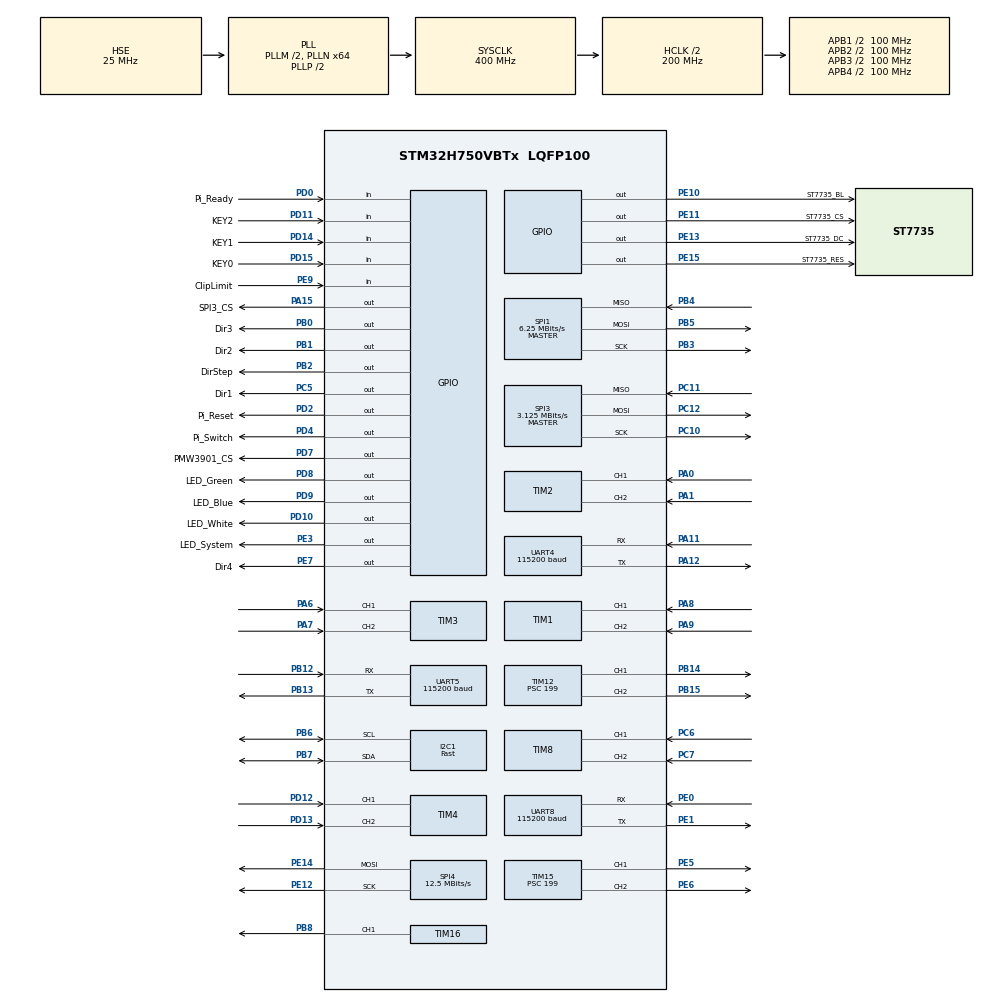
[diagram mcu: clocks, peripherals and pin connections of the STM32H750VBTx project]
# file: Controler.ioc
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CORTEX_M7.AccessPermission_Spec=MPU_REGION_NO_ACCESS
CORTEX_M7.BaseAddress_Spec=0x0
CORTEX_M7.CPU_DCache=Disabled
CORTEX_M7.CPU_ICache=Disabled
CORTEX_M7.DisableExec_Spec=MPU_INSTRUCTION_ACCESS_DISABLE
CORTEX_M7.Enable_S-Cortex_Memory_Protection_Unit_Region10_Settings_S=__NULL
CORTEX_M7.Enable_S-Cortex_Memory_Protection_Unit_Region11_Settings_S=__NULL
CORTEX_M7.Enable_S-Cortex_Memory_Protection_Unit_Region12_Settings_S=__NULL
CORTEX_M7.Enable_S-Cortex_Memory_Protection_Unit_Region13_Settings_S=__NULL
CORTEX_M7.Enable_S-Cortex_Memory_Protection_Unit_Region14_Settings_S=__NULL
CORTEX_M7.Enable_S-Cortex_Memory_Protection_Unit_Region15_Settings_S=__NULL
CORTEX_M7.Enable_S-Cortex_Memory_Protection_Unit_Region1_Settings_S=__NULL
CORTEX_M7.Enable_S-Cortex_Memory_Protection_Unit_Region2_Settings_S=__NULL
CORTEX_M7.Enable_S-Cortex_Memory_Protection_Unit_Region3_Settings_S=__NULL
CORTEX_M7.Enable_S-Cortex_Memory_Protection_Unit_Region4_Settings_S=__NULL
CORTEX_M7.Enable_S-Cortex_Memory_Protection_Unit_Region5_Settings_S=__NULL
CORTEX_M7.Enable_S-Cortex_Memory_Protection_Unit_Region6_Settings_S=__NULL
CORTEX_M7.Enable_S-Cortex_Memory_Protection_Unit_Region7_Settings_S=__NULL
CORTEX_M7.Enable_S-Cortex_Memory_Protection_Unit_Region8_Settings_S=__NULL
CORTEX_M7.Enable_S-Cortex_Memory_Protection_Unit_Region9_Settings_S=__NULL
CORTEX_M7.Enable_Spec=MPU_REGION_ENABLE
CORTEX_M7.IsBufferable_Spec=MPU_ACCESS_NOT_BUFFERABLE
CORTEX_M7.IsCacheable_Spec=MPU_ACCESS_NOT_CACHEABLE
CORTEX_M7.IsShareable_Spec=MPU_ACCESS_SHAREABLE
CORTEX_M7.MPU_Control=MPU_PRIVILEGED_DEFAULT
CORTEX_M7.Size_Spec=MPU_REGION_SIZE_4GB
CORTEX_M7.SubRegionDisable_Spec=0x87
CORTEX_M7.TypeExtField_Spec=MPU_TEX_LEVEL0
CORTEX_M7.default_mode_Activation=1
Dma.Request0=SPI4_TX
Dma.Request1=UART4_RX
Dma.SPI4_TX.0.Direction=DMA_MEMORY_TO_PERIPH
Dma.SPI4_TX.0.EventEnable=DISABLE
Dma.SPI4_TX.0.FIFOMode=DMA_FIFOMODE_DISABLE
Dma.SPI4_TX.0.Instance=DMA1_Stream1
Dma.SPI4_TX.0.MemDataAlignment=DMA_MDATAALIGN_BYTE
Dma.SPI4_TX.0.MemInc=DMA_MINC_ENABLE
Dma.SPI4_TX.0.Mode=DMA_NORMAL
Dma.SPI4_TX.0.PeriphDataAlignment=DMA_PDATAALIGN_BYTE
Dma.SPI4_TX.0.PeriphInc=DMA_PINC_DISABLE
Dma.SPI4_TX.0.Polarity=HAL_DMAMUX_REQ_GEN_RISING
Dma.SPI4_TX.0.Priority=DMA_PRIORITY_LOW
Dma.SPI4_TX.0.RequestNumber=1
Dma.SPI4_TX.0.SignalID=NONE
Dma.SPI4_TX.0.SyncEnable=DISABLE
Dma.SPI4_TX.0.SyncPolarity=HAL_DMAMUX_SYNC_NO_EVENT
Dma.SPI4_TX.0.SyncRequestNumber=1
Dma.SPI4_TX.0.SyncSignalID=NONE
Dma.UART4_RX.1.Direction=DMA_PERIPH_TO_MEMORY
Dma.UART4_RX.1.EventEnable=DISABLE
Dma.UART4_RX.1.FIFOMode=DMA_FIFOMODE_DISABLE
Dma.UART4_RX.1.Instance=DMA1_Stream0
Dma.UART4_RX.1.MemDataAlignment=DMA_MDATAALIGN_BYTE
Dma.UART4_RX.1.MemInc=DMA_MINC_ENABLE
Dma.UART4_RX.1.Mode=DMA_CIRCULAR
Dma.UART4_RX.1.PeriphDataAlignment=DMA_PDATAALIGN_BYTE
Dma.UART4_RX.1.PeriphInc=DMA_PINC_DISABLE
Dma.UART4_RX.1.Polarity=HAL_DMAMUX_REQ_GEN_RISING
Dma.UART4_RX.1.Priority=DMA_PRIORITY_LOW
Dma.UART4_RX.1.RequestNumber=1
Dma.UART4_RX.1.SignalID=NONE
Dma.UART4_RX.1.SyncEnable=DISABLE
Dma.UART4_RX.1.SyncPolarity=HAL_DMAMUX_SYNC_NO_EVENT
Dma.UART4_RX.1.SyncRequestNumber=1
Dma.UART4_RX.1.SyncSignalID=NONE
FREERTOS.BinarySemaphores01=bQueuePut,Dynamic,NULL
FREERTOS.Queues01=SensorMessageQueue,16,uint16_t,0,Dynamic,NULL,NULL
FREERTOS.Tasks01=IOcontrol,8,128,IOcontrolEntry,Default,NULL,Dynamic,NULL,NULL;SerialOutput,8,512,SerialOutputEntry,Default,NULL,Dynamic,NULL,NULL;StateMachine,8,512,StateMachineEntry,Default,NULL,Dynamic,NULL,NULL;ScreenRefresh,8,512,ScreenRefreshEntry,Default,NULL,Dynamic,NULL,NULL;SensorHandle,24,256,SensorHandleEntry,Default,NULL,Dynamic,NULL,NULL;InfCalOpticalTa,8,256,InfCalOpticalEntry,Default,NULL,Dynamic,NULL,NULL
FREERTOS.Timers01=KeyTimer,KeyTimerCallback,osTimerPeriodic,Default,NULL,Dynamic,NULL
I2C1.AddressingMode=I2C_ADDRESSINGMODE_7BIT
I2C1.Analog_Filter=I2C_ANALOGFILTER_ENABLE
I2C1.CustomTiming=Disabled
I2C1.DualAddressMode=I2C_DUALADDRESS_DISABLE
I2C1.GeneralCallMode=I2C_GENERALCALL_DISABLE
I2C1.I2C_Coeff_DF=0
I2C1.I2C_Fall_Time=0
I2C1.I2C_Rise_Time=0
I2C1.I2C_Speed_Mode=I2C_Fast
I2C1.NoStretchMode=I2C_NOSTRETCH_DISABLE
I2C1.OwnAddress=0
I2C1.Speed=400
I2C1.Timing=0x009034B6
Mcu.Family=STM32H7
Mcu.Name=STM32H750VBTx
Mcu.Package=LQFP100
NVIC.DMA1_Stream0_IRQn=true\:5\:0\:false\:false\:true\:true\:false\:true\:true
NVIC.DMA1_Stream1_IRQn=true\:5\:0\:false\:false\:true\:true\:false\:true\:true
NVIC.PriorityGroup=NVIC_PRIORITYGROUP_4
NVIC.SPI4_IRQn=true\:5\:0\:false\:false\:true\:true\:false\:true\:true
NVIC.TIM17_IRQn=true\:15\:0\:false\:false\:true\:false\:true\:true\:true
NVIC.TIM6_DAC_IRQn=true\:5\:0\:false\:false\:true\:true\:true\:true\:true
NVIC.TimeBase=TIM17_IRQn
NVIC.TimeBaseIP=TIM17
NVIC.UART5_IRQn=true\:5\:0\:false\:false\:true\:true\:true\:true\:true
PA0.Signal=S_TIM2_CH1_ETR
PA1.Signal=S_TIM2_CH2
PA11.Mode=Asynchronous
PA11.Signal=UART4_RX
PA12.Mode=Asynchronous
PA12.Signal=UART4_TX
PA13\ (JTMS/SWDIO).Mode=Serial_Wire
PA13\ (JTMS/SWDIO).Signal=DEBUG_JTMS-SWDIO
PA14\ (JTCK/SWCLK).Mode=Serial_Wire
PA14\ (JTCK/SWCLK).Signal=DEBUG_JTCK-SWCLK
PA15\ (JTDI).GPIO_Label=SPI3_CS
PA15\ (JTDI).Signal=GPIO_Output
PA6.Signal=S_TIM3_CH1
PA7.Signal=S_TIM3_CH2
PA8.Signal=S_TIM1_CH1
PA9.Signal=S_TIM1_CH2
PB0.GPIO_Label=Dir3
PB0.Signal=GPIO_Output
PB1.GPIO_Label=Dir2
PB1.Signal=GPIO_Output
PB12.Mode=Asynchronous
PB12.Signal=UART5_RX
PB13.Mode=Asynchronous
PB13.Signal=UART5_TX
PB14.Signal=S_TIM12_CH1
PB15.Signal=S_TIM12_CH2
PB2.GPIO_Label=DirStep
PB2.Signal=GPIO_Output
PB3\ (JTDO/TRACESWO).GPIO_PuPd=GPIO_PULLUP
PB3\ (JTDO/TRACESWO).GPIO_Speed=GPIO_SPEED_FREQ_VERY_HIGH
PB3\ (JTDO/TRACESWO).Mode=Full_Duplex_Master
PB3\ (JTDO/TRACESWO).Signal=SPI1_SCK
PB4\ (NJTRST).GPIO_PuPd=GPIO_PULLUP
PB4\ (NJTRST).GPIO_Speed=GPIO_SPEED_FREQ_VERY_HIGH
PB4\ (NJTRST).Mode=Full_Duplex_Master
PB4\ (NJTRST).Signal=SPI1_MISO
PB5.GPIO_PuPd=GPIO_PULLUP
PB5.GPIO_Speed=GPIO_SPEED_FREQ_VERY_HIGH
PB5.Mode=Full_Duplex_Master
PB5.Signal=SPI1_MOSI
PB6.Mode=I2C
PB6.Signal=I2C1_SCL
PB7.Mode=I2C
PB7.Signal=I2C1_SDA
PB8.Signal=S_TIM16_CH1
PC10.GPIO_Mode=GPIO_MODE_AF_PP
PC10.GPIO_PuPd=GPIO_PULLUP
PC10.GPIO_Speed=GPIO_SPEED_FREQ_VERY_HIGH
PC10.Mode=Full_Duplex_Master
PC10.Signal=SPI3_SCK
PC11.GPIO_PuPd=GPIO_PULLUP
PC11.GPIO_Speed=GPIO_SPEED_FREQ_VERY_HIGH
PC11.Mode=Full_Duplex_Master
PC11.Signal=SPI3_MISO
PC12.GPIO_PuPd=GPIO_PULLUP
PC12.GPIO_Speed=GPIO_SPEED_FREQ_VERY_HIGH
PC12.Mode=Full_Duplex_Master
PC12.Signal=SPI3_MOSI
PC5.GPIO_Label=Dir1
PC5.Signal=GPIO_Output
PC6.Signal=S_TIM8_CH1
PC7.Signal=S_TIM8_CH2
PD0.GPIO_Label=Pi_Ready
PD0.Signal=GPIO_Input
PD10.GPIO_Label=LED_White
PD10.Signal=GPIO_Output
PD11.GPIO_Label=KEY2
PD11.GPIO_PuPd=GPIO_PULLUP
PD11.Signal=GPIO_Input
PD12.Signal=S_TIM4_CH1
PD13.Signal=S_TIM4_CH2
PD14.GPIO_Label=KEY1
PD14.GPIO_PuPd=GPIO_PULLUP
PD14.Signal=GPIO_Input
PD15.GPIO_Label=KEY0
PD15.GPIO_PuPd=GPIO_PULLUP
PD15.Signal=GPIO_Input
PD2.GPIO_Label=Pi_Reset
PD2.GPIO_PuPd=GPIO_PULLDOWN
PD2.Signal=GPIO_Output
PD4.GPIO_Label=Pi_Switch
PD4.GPIO_PuPd=GPIO_PULLDOWN
PD4.Signal=GPIO_Output
PD7.GPIO_Label=PMW3901_CS
PD7.Signal=GPIO_Output
PD8.GPIO_Label=LED_Green
PD8.Signal=GPIO_Output
PD9.GPIO_Label=LED_Blue
PD9.Signal=GPIO_Output
PE0.Mode=Asynchronous
PE0.Signal=UART8_RX
PE1.Mode=Asynchronous
PE1.Signal=UART8_TX
PE10.GPIO_Label=ST7735_BL
PE10.Signal=GPIO_Output
PE11.GPIO_Label=ST7735_CS
PE11.Signal=GPIO_Output
PE12.GPIO_PuPd=GPIO_PULLUP
PE12.GPIO_Speed=GPIO_SPEED_FREQ_LOW
PE12.Mode=TX_Only_Simplex_Unidirect_Master
PE12.Signal=SPI4_SCK
PE13.GPIO_Label=ST7735_DC
PE13.Signal=GPIO_Output
PE14.GPIO_PuPd=GPIO_PULLUP
PE14.GPIO_Speed=GPIO_SPEED_FREQ_LOW
PE14.Mode=TX_Only_Simplex_Unidirect_Master
PE14.Signal=SPI4_MOSI
PE15.GPIO_Label=ST7735_RES
PE15.Signal=GPIO_Output
PE3.GPIO_Label=LED_System
PE3.Signal=GPIO_Output
PE5.Signal=S_TIM15_CH1
PE6.Signal=S_TIM15_CH2
PE7.GPIO_Label=Dir4
PE7.Signal=GPIO_Output
PE9.GPIO_Label=ClipLimit
PE9.GPIO_PuPd=GPIO_PULLDOWN
PE9.Signal=GPIO_Input
PH0-OSC_IN\ (PH0).Mode=HSE-External-Oscillator
PH0-OSC_IN\ (PH0).Signal=RCC_OSC_IN
PH1-OSC_OUT\ (PH1).Mode=HSE-External-Oscillator
PH1-OSC_OUT\ (PH1).Signal=RCC_OSC_OUT
ProjectManager.HeapSize=0x200
ProjectManager.StackSize=0x400
ProjectManager.TargetToolchain=STM32CubeIDE
RCC.ADCFreq_Value=50390625
RCC.APB1Freq_Value=100000000
RCC.APB2Freq_Value=100000000
RCC.APB3Freq_Value=100000000
RCC.APB4Freq_Value=100000000
RCC.CortexFreq_Value=400000000
RCC.D1PPRE=RCC_APB3_DIV2
RCC.D2PPRE1=RCC_APB1_DIV2
RCC.D2PPRE2=RCC_APB2_DIV2
RCC.D3PPRE=RCC_APB4_DIV2
RCC.DIVM1=2
RCC.DIVN1=64
RCC.DIVQ1=4
RCC.FLatency=FLASH_LATENCY_2
RCC.HCLKFreq_Value=200000000
RCC.HPRE=RCC_HCLK_DIV2
RCC.PLL1_VCI_Range=RCC_PLL1VCIRANGE_2
RCC.PLLFRACN=0
RCC.PLLSourceVirtual=RCC_PLLSOURCE_HSE
RCC.PWR_Regulator_Voltage_Scale=PWR_REGULATOR_VOLTAGE_SCALE0
RCC.SYSCLKFreq_VALUE=400000000
RCC.SYSCLKSource=RCC_SYSCLKSOURCE_PLLCLK
RCC.USBFreq_Value=200000000
SH.S_TIM12_CH1.0=TIM12_CH1,PWM Generation1 CH1
SH.S_TIM12_CH2.0=TIM12_CH2,PWM Generation2 CH2
SH.S_TIM15_CH1.0=TIM15_CH1,PWM Generation1 CH1
SH.S_TIM15_CH2.0=TIM15_CH2,PWM Generation2 CH2
SH.S_TIM16_CH1.0=TIM16_CH1,PWM Generation1 CH1
SH.S_TIM1_CH1.0=TIM1_CH1,Encoder_Interface
SH.S_TIM1_CH2.0=TIM1_CH2,Encoder_Interface
SH.S_TIM2_CH1_ETR.0=TIM2_CH1,Encoder_Interface
SH.S_TIM2_CH2.0=TIM2_CH2,Encoder_Interface
SH.S_TIM3_CH1.0=TIM3_CH1,Encoder_Interface
SH.S_TIM3_CH2.0=TIM3_CH2,Encoder_Interface
SH.S_TIM4_CH1.0=TIM4_CH1,Encoder_Interface
SH.S_TIM4_CH2.0=TIM4_CH2,Encoder_Interface
SH.S_TIM8_CH1.0=TIM8_CH1,Encoder_Interface
SH.S_TIM8_CH2.0=TIM8_CH2,Encoder_Interface
SPI1.BaudRatePrescaler=SPI_BAUDRATEPRESCALER_32
SPI1.CLKPhase=SPI_PHASE_2EDGE
SPI1.CLKPolarity=SPI_POLARITY_HIGH
SPI1.CalculateBaudRate=6.25 MBits/s
SPI1.DataSize=SPI_DATASIZE_8BIT
SPI1.Direction=SPI_DIRECTION_2LINES
SPI1.Mode=SPI_MODE_MASTER
SPI1.VirtualType=VM_MASTER
SPI3.BaudRatePrescaler=SPI_BAUDRATEPRESCALER_64
SPI3.CLKPhase=SPI_PHASE_2EDGE
SPI3.CLKPolarity=SPI_POLARITY_HIGH
SPI3.CRCCalculation=SPI_CRCCALCULATION_DISABLE
SPI3.CalculateBaudRate=3.125 MBits/s
SPI3.DataSize=SPI_DATASIZE_8BIT
SPI3.Direction=SPI_DIRECTION_2LINES
SPI3.FifoThreshold=SPI_FIFO_THRESHOLD_01DATA
SPI3.FirstBit=SPI_FIRSTBIT_MSB
SPI3.IOSwap=SPI_IO_SWAP_DISABLE
SPI3.MasterInterDataIdleness=SPI_MASTER_INTERDATA_IDLENESS_00CYCLE
SPI3.MasterKeepIOState=SPI_MASTER_KEEP_IO_STATE_ENABLE
SPI3.MasterReceiverAutoSusp=SPI_MASTER_RX_AUTOSUSP_DISABLE
SPI3.MasterSSIdleness=SPI_MASTER_SS_IDLENESS_00CYCLE
SPI3.Mode=SPI_MODE_MASTER
SPI3.NSS=SPI_NSS_SOFT
SPI3.NSSPMode=SPI_NSS_PULSE_ENABLE
SPI3.NSSPolarity=SPI_NSS_POLARITY_LOW
SPI3.RxCRCInitializationPattern=SPI_CRC_INITIALIZATION_ALL_ZERO_PATTERN
SPI3.TIMode=SPI_TIMODE_DISABLE
SPI3.TxCRCInitializationPattern=SPI_CRC_INITIALIZATION_ALL_ZERO_PATTERN
SPI3.VirtualType=VM_MASTER
SPI4.BaudRatePrescaler=SPI_BAUDRATEPRESCALER_8
SPI4.CLKPhase=SPI_PHASE_2EDGE
SPI4.CLKPolarity=SPI_POLARITY_HIGH
SPI4.CalculateBaudRate=12.5 MBits/s
SPI4.DataSize=SPI_DATASIZE_8BIT
SPI4.Direction=SPI_DIRECTION_2LINES_TXONLY
SPI4.MasterKeepIOState=SPI_MASTER_KEEP_IO_STATE_ENABLE
SPI4.Mode=SPI_MODE_MASTER
SPI4.VirtualType=VM_MASTER
TIM12.Channel-PWM\ Generation1\ CH1=TIM_CHANNEL_1
TIM12.Channel-PWM\ Generation2\ CH2=TIM_CHANNEL_2
TIM12.Period=99
TIM12.Prescaler=199
TIM15.Channel-PWM\ Generation1\ CH1=TIM_CHANNEL_1
TIM15.Channel-PWM\ Generation2\ CH2=TIM_CHANNEL_2
TIM15.Period=99
TIM15.Prescaler=199
TIM16.Channel=TIM_CHANNEL_1
TIM16.Period=99
TIM16.Prescaler=199
TIM6.AutoReloadPreload=TIM_AUTORELOAD_PRELOAD_ENABLE
TIM6.Period=999
TIM6.Prescaler=239
TIM8.EncoderMode=TIM_ENCODERMODE_TI1
UART4.AutoBaudRateEnableParam=UART_ADVFEATURE_AUTOBAUDRATE_DISABLE
UART4.BaudRate=115200
UART4.ClockPrescaler=PRESCALER_DIV1
UART4.DMADisableonRxErrorParam=UART_ADVFEATURE_DMA_ENABLEONRXERROR
UART4.DataInvertParam=UART_ADVFEATURE_DATAINV_DISABLE
UART4.FIFOMode=FIFOMODE_DISABLE
UART4.MSBFirstParam=UART_ADVFEATURE_MSBFIRST_DISABLE
UART4.Mode=MODE_TX_RX
UART4.OneBitSampling=UART_ONE_BIT_SAMPLE_DISABLE
UART4.OverSampling=UART_OVERSAMPLING_16
UART4.OverrunDisableParam=UART_ADVFEATURE_OVERRUN_ENABLE
UART4.Parity=PARITY_NONE
UART4.RXFIFOThreshold=RXFIFO_THRESHOLD_1EIGHTHFULL
UART4.RxPinLevelInvertParam=UART_ADVFEATURE_RXINV_DISABLE
UART4.StopBits=UART_STOPBITS_1
UART4.SwapParam=UART_ADVFEATURE_SWAP_DISABLE
UART4.TXFIFOThreshold=TXFIFO_THRESHOLD_1EIGHTHFULL
UART4.TxPinLevelInvertParam=UART_ADVFEATURE_TXINV_DISABLE
UART4.WordLength=WORDLENGTH_8B
UART5.AutoBaudRateEnableParam=UART_ADVFEATURE_AUTOBAUDRATE_DISABLE
UART5.BaudRate=115200
UART5.ClockPrescaler=PRESCALER_DIV1
UART5.DMADisableonRxErrorParam=UART_ADVFEATURE_DMA_ENABLEONRXERROR
UART5.DataInvertParam=UART_ADVFEATURE_DATAINV_DISABLE
UART5.FIFOMode=FIFOMODE_DISABLE
UART5.MSBFirstParam=UART_ADVFEATURE_MSBFIRST_DISABLE
UART5.Mode=MODE_TX_RX
UART5.OneBitSampling=UART_ONE_BIT_SAMPLE_DISABLE
UART5.OverSampling=UART_OVERSAMPLING_16
UART5.OverrunDisableParam=UART_ADVFEATURE_OVERRUN_ENABLE
UART5.Parity=PARITY_NONE
UART5.RXFIFOThreshold=RXFIFO_THRESHOLD_1EIGHTHFULL
UART5.RxPinLevelInvertParam=UART_ADVFEATURE_RXINV_DISABLE
UART5.StopBits=UART_STOPBITS_1
UART5.SwapParam=UART_ADVFEATURE_SWAP_DISABLE
UART5.TXFIFOThreshold=TXFIFO_THRESHOLD_1EIGHTHFULL
UART5.TxPinLevelInvertParam=UART_ADVFEATURE_TXINV_DISABLE
UART5.WordLength=WORDLENGTH_8B
UART8.AutoBaudRateEnableParam=UART_ADVFEATURE_AUTOBAUDRATE_DISABLE
UART8.BaudRate=115200
UART8.ClockPrescaler=PRESCALER_DIV1
UART8.DMADisableonRxErrorParam=UART_ADVFEATURE_DMA_ENABLEONRXERROR
UART8.DataInvertParam=UART_ADVFEATURE_DATAINV_DISABLE
UART8.FIFOMode=FIFOMODE_DISABLE
UART8.MSBFirstParam=UART_ADVFEATURE_MSBFIRST_DISABLE
UART8.Mode=MODE_TX_RX
UART8.OneBitSampling=UART_ONE_BIT_SAMPLE_DISABLE
UART8.OverSampling=UART_OVERSAMPLING_16
UART8.OverrunDisableParam=UART_ADVFEATURE_OVERRUN_ENABLE
UART8.Parity=PARITY_NONE
UART8.RXFIFOThreshold=RXFIFO_THRESHOLD_1EIGHTHFULL
UART8.RxPinLevelInvertParam=UART_ADVFEATURE_RXINV_DISABLE
UART8.StopBits=UART_STOPBITS_1
UART8.SwapParam=UART_ADVFEATURE_SWAP_DISABLE
UART8.TXFIFOThreshold=TXFIFO_THRESHOLD_1EIGHTHFULL
UART8.TxPinLevelInvertParam=UART_ADVFEATURE_TXINV_DISABLE
UART8.WordLength=WORDLENGTH_8B
VP_FREERTOS_VS_CMSIS_V2.Mode=CMSIS_V2
VP_SYS_VS_tim17.Mode=TIM17
VP_TIM12_VS_ClockSourceINT.Mode=Internal
VP_TIM15_VS_ClockSourceINT.Mode=Internal
VP_TIM16_VS_ClockSourceINT.Mode=Enable_Timer
VP_TIM6_VS_ClockSourceINT.Mode=Enable_Timer
board=custom

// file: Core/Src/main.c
/* USER CODE BEGIN Header */
/**
  ******************************************************************************
  * @file           : main.c
  * @brief          : Main program body
  ******************************************************************************
  * @attention
  *
  * Copyright (c) 2022 STMicroelectronics.
  * All rights reserved.
  *
  * This software is licensed under terms that can be found in the LICENSE file
  * in the root directory of this software component.
  * If no LICENSE file comes with this software, it is provided AS-IS.
  *
  ******************************************************************************
  */
/* USER CODE END Header */
#include "main.h"
#include "cmsis_os.h"
#include "dma.h"
#include "i2c.h"
#include "spi.h"
#include "tim.h"
#include "usart.h"
#include "gpio.h"

/* USER CODE BEGIN Includes */
#include "key.h"
#include "move.h"
#include "motor.h"
#include "utils.h"
#include "printf.h"
#include "stdlib.h"
#include "PID/pid.h"
#include "Filter/filter.h"
#include "Compass/QMC5883L.h"
#include "ST7735-HAL/st7735.h"
#include "ICM42605/ICM42605.h"
#include "imuFusion/imuFusion.h"
#include "StepHerlper/stepHelper.h"
#include "SerialParaChanger/SPChanger.h"
#include "CommonKey/comKey.h"
/* USER CODE END Includes */

/* USER CODE BEGIN PV */
extern osMessageQueueId_t SensorMessageQueueHandle;
fusion_t icmFusion;

char shBuff[256];
char chBuff;
/* USER CODE END PV */

void SystemClock_Config(void);

static void MPU_Config(void);

void MX_FREERTOS_Init(void);

/* USER CODE BEGIN PFP */
void _putchar(char character) {
    HAL_UART_Transmit(&huart5, (uint8_t *) &character, 1, HAL_MAX_DELAY);
}

extern short uart_charPut(char *data, unsigned short len);
/* USER CODE END PFP */

int main(void) {

    /* MPU Configuration--------------------------------------------------------*/
    MPU_Config();

    /* MCU Configuration--------------------------------------------------------*/

    /* Reset of all peripherals, Initializes the Flash interface and the Systick. */
    HAL_Init();

    /* Configure the system clock */
    SystemClock_Config();

    /* Initialize all configured peripherals */
    MX_GPIO_Init();
    MX_DMA_Init();
    MX_SPI3_Init();
    MX_UART5_Init();
    MX_UART8_Init();
    MX_I2C1_Init();
    MX_UART4_Init();
    MX_TIM2_Init();
    MX_TIM4_Init();
    MX_TIM16_Init();
    MX_TIM3_Init();
    MX_SPI4_Init();
    MX_TIM1_Init();
    MX_TIM8_Init();
    MX_SPI1_Init();
    MX_TIM15_Init();
    MX_TIM6_Init();
    MX_TIM12_Init();
    /* USER CODE BEGIN 2 */
    // Encoders
    HAL_TIM_Encoder_Start(&htim1, TIM_CHANNEL_1);
    HAL_TIM_Encoder_Start(&htim1, TIM_CHANNEL_2);
    HAL_TIM_Encoder_Start(&htim2, TIM_CHANNEL_1);
    HAL_TIM_Encoder_Start(&htim2, TIM_CHANNEL_2);
    HAL_TIM_Encoder_Start(&htim3, TIM_CHANNEL_1);
    HAL_TIM_Encoder_Start(&htim3, TIM_CHANNEL_2);
    HAL_TIM_Encoder_Start(&htim4, TIM_CHANNEL_1);
    HAL_TIM_Encoder_Start(&htim4, TIM_CHANNEL_2);
    HAL_TIM_Encoder_Start(&htim8, TIM_CHANNEL_1);
    HAL_TIM_Encoder_Start(&htim8, TIM_CHANNEL_2);

    // Motors
    HAL_TIM_PWM_Start(&htim12, TIM_CHANNEL_1);
    HAL_TIM_PWM_Start(&htim12, TIM_CHANNEL_2);
    HAL_TIM_PWM_Start(&htim15, TIM_CHANNEL_1);
    HAL_TIM_PWM_Start(&htim15, TIM_CHANNEL_2);
    HAL_TIM_PWM_Start(&htim16, TIM_CHANNEL_1);

    // Screen
    ST7735_Init();
    ST7735_SetRotation(1);
    ST7735_Backlight_On();
    ST7735_FillScreen(ST7735_WHITE);

    // Sensor Init
    int res = 0;
    char buffer[64];

    sprintf(buffer, "Initing PMW...\r\n");
    LCD_StringLayout(128, buffer, Font_11x18, ST7735_BLACK, ST7735_WHITE);
    if (PMW3901_Init(&CarInfo.pmw) != 0) {
        char buff[64];
        sprintf(buff, "PMW Init Error\r\n");
        LCD_StringLayout(128, buff, Font_11x18, ST7735_BLACK, ST7735_WHITE);
        while (1);
    }

    sprintf(buffer, "Initing QMC...\r\n");
    LCD_StringLayout(128, buffer, Font_11x18, ST7735_BLACK, ST7735_WHITE);
//    if (QMC5883_Init() != 0) {
//        char buff[64];
//        sprintf(buff, "QMC Init Error\n");
//        LCD_StringLayout(128, buff, Font_11x18, ST7735_BLACK, ST7735_WHITE);
//        while (1);
//    }

    sprintf(buffer, "Caling QMC...\r\n");
    LCD_StringLayout(128, buffer, Font_11x18, ST7735_BLACK, ST7735_WHITE);
    for (int i = 0; i < 100; i++) {
        QMC5883_GetData(&CarInfo.hmc);
        ICM42605_GetData(&CarInfo.icm, ICM_MODE_GYRO);
        CarInfo.initYawOffset += atan2f(CarInfo.hmc.Mx, CarInfo.hmc.My);
        printf("gyro:%f,%f,%f\r\n", CarInfo.icm.gx, CarInfo.icm.gy, CarInfo.icm.gz);
        HAL_Delay(1);
    }
    CarInfo.initYawOffset /= 100;

    sprintf(buffer, "Caling ICM...\r\n");
    LCD_StringLayout(128, buffer, Font_11x18, ST7735_BLACK, ST7735_WHITE);
    CarInfo.initGxOffset = 0;
    CarInfo.initGyOffset = 0;
    CarInfo.initGzOffset = 0;
    for(int i = 0;i < 1000;i++){
        ICM42605_GetData(&CarInfo.icm, ICM_MODE_GYRO);
        CarInfo.initGxOffset += CarInfo.icm.gx;
        CarInfo.initGyOffset += CarInfo.icm.gy;
        CarInfo.initGzOffset += CarInfo.icm.gz;
    }
    CarInfo.initGxOffset /= 1000;
    CarInfo.initGyOffset /= 1000;
    CarInfo.initGzOffset /= 1000;

    if ((res = ICM42605_Init()) != 0) {
        char buff[64];
        sprintf(buff, "ICM42605 Init Error\r\n");
        LCD_StringLayout(128, buff, Font_11x18, ST7735_BLACK, ST7735_WHITE);
        while (1);
    }

    ST7735_FillScreen(ST7735_WHITE);
    LCD_StringLayout(LCD_EOP);

    // Soft Init
    PID_Init(&CarInfo.msPid[4], 8, 0.45f, 0);//0, 0.2, 0,
    PID_Init(&CarInfo.mpPid[4], 0.15f, 0, 0);// 0.033, 0, 0,

    KeyInit();

    shell.write = uart_charPut;
    shellInit(&shell, shBuff, 256);

    // Interrupt
    HAL_TIM_Base_Start_IT(&htim6);
    HAL_UART_Receive_IT(&huart5, (uint8_t *) &chBuff, 1);
    CarInfo.mpPid[4].ctr.aim = -10000;
    while (CarInfo.mpPid[4].ctr.aim != TopHeight);
    HAL_Delay(300);
    SupportRotation(90, 500);
    /* USER CODE END 2 */

    /* Init scheduler */
    osKernelInitialize();  /* Call init function for freertos objects (in freertos.c) */
    MX_FREERTOS_Init();

    /* Start scheduler */
    osKernelStart();

    /* We should never get here as control is now taken by the scheduler */
    /* Infinite loop */
    /* USER CODE BEGIN WHILE */
    while (1) {

        Motor_Drive(0, 20, 1);
        Motor_Drive(1, 20, 1);
        Motor_Drive(2, 20, 1);
        Motor_Drive(3, 20, 1);
//        switch (motor) {
//            case 0:
//                Motor_Drive(0, 20, 1);
//                Motor_Drive(1, 0, 1);
//                Motor_Drive(2, 0, 1);
//                Motor_Drive(3, 0, 1);
//                break;
//            case 1:
//                Motor_Drive(0, 0, 1);
//                Motor_Drive(1, 20, 1);
//                Motor_Drive(2, 0, 1);
//                Motor_Drive(3, 0, 1);
//                break;
//            case 2:
//                Motor_Drive(0, 0, 1);
//                Motor_Drive(1, 0, 1);
//                Motor_Drive(2, 20, 1);
//                Motor_Drive(3, 0, 1);
//                break;
//            case 3:
//                Motor_Drive(0, 0, 1);
//                Motor_Drive(1, 0, 1);
//                Motor_Drive(2, 0, 1);
//                Motor_Drive(3, 20, 1);
//                break;
//        }
        /* USER CODE END WHILE */

    }
}

void SystemClock_Config(void) {
    RCC_OscInitTypeDef RCC_OscInitStruct = {0};
    RCC_ClkInitTypeDef RCC_ClkInitStruct = {0};

    /** Supply configuration update enable
    */
    HAL_PWREx_ConfigSupply(PWR_LDO_SUPPLY);

    /** Configure the main internal regulator output voltage
    */
    __HAL_PWR_VOLTAGESCALING_CONFIG(PWR_REGULATOR_VOLTAGE_SCALE0);

    while (!__HAL_PWR_GET_FLAG(PWR_FLAG_VOSRDY)) {}

    /** Initializes the RCC Oscillators according to the specified parameters
    * in the RCC_OscInitTypeDef structure.
    */
    RCC_OscInitStruct.OscillatorType = RCC_OSCILLATORTYPE_HSE;
    RCC_OscInitStruct.HSEState = RCC_HSE_ON;
    RCC_OscInitStruct.PLL.PLLState = RCC_PLL_ON;
    RCC_OscInitStruct.PLL.PLLSource = RCC_PLLSOURCE_HSE;
    RCC_OscInitStruct.PLL.PLLM = 2;
    RCC_OscInitStruct.PLL.PLLN = 64;
    RCC_OscInitStruct.PLL.PLLP = 2;
    RCC_OscInitStruct.PLL.PLLQ = 4;
    RCC_OscInitStruct.PLL.PLLR = 2;
    RCC_OscInitStruct.PLL.PLLRGE = RCC_PLL1VCIRANGE_2;
    RCC_OscInitStruct.PLL.PLLVCOSEL = RCC_PLL1VCOWIDE;
    RCC_OscInitStruct.PLL.PLLFRACN = 0;
    if (HAL_RCC_OscConfig(&RCC_OscInitStruct) != HAL_OK) {
        Error_Handler();
    }

    /** Initializes the CPU, AHB and APB buses clocks
    */
    RCC_ClkInitStruct.ClockType = RCC_CLOCKTYPE_HCLK | RCC_CLOCKTYPE_SYSCLK
                                  | RCC_CLOCKTYPE_PCLK1 | RCC_CLOCKTYPE_PCLK2
                                  | RCC_CLOCKTYPE_D3PCLK1 | RCC_CLOCKTYPE_D1PCLK1;
    RCC_ClkInitStruct.SYSCLKSource = RCC_SYSCLKSOURCE_PLLCLK;
    RCC_ClkInitStruct.SYSCLKDivider = RCC_SYSCLK_DIV1;
    RCC_ClkInitStruct.AHBCLKDivider = RCC_HCLK_DIV2;
    RCC_ClkInitStruct.APB3CLKDivider = RCC_APB3_DIV2;
    RCC_ClkInitStruct.APB1CLKDivider = RCC_APB1_DIV2;
    RCC_ClkInitStruct.APB2CLKDivider = RCC_APB2_DIV2;
    RCC_ClkInitStruct.APB4CLKDivider = RCC_APB4_DIV2;

    if (HAL_RCC_ClockConfig(&RCC_ClkInitStruct, FLASH_LATENCY_2) != HAL_OK) {
        Error_Handler();
    }
}

/* MPU Configuration */

void MPU_Config(void) {
    MPU_Region_InitTypeDef MPU_InitStruct = {0};

    /* Disables the MPU */
    HAL_MPU_Disable();

    /** Initializes and configures the Region and the memory to be protected
    */
    MPU_InitStruct.Enable = MPU_REGION_ENABLE;
    MPU_InitStruct.Number = MPU_REGION_NUMBER0;
    MPU_InitStruct.BaseAddress = 0x0;
    MPU_InitStruct.Size = MPU_REGION_SIZE_4GB;
    MPU_InitStruct.SubRegionDisable = 0x87;
    MPU_InitStruct.TypeExtField = MPU_TEX_LEVEL0;
    MPU_InitStruct.AccessPermission = MPU_REGION_NO_ACCESS;
    MPU_InitStruct.DisableExec = MPU_INSTRUCTION_ACCESS_DISABLE;
    MPU_InitStruct.IsShareable = MPU_ACCESS_SHAREABLE;
    MPU_InitStruct.IsCacheable = MPU_ACCESS_NOT_CACHEABLE;
    MPU_InitStruct.IsBufferable = MPU_ACCESS_NOT_BUFFERABLE;

    HAL_MPU_ConfigRegion(&MPU_InitStruct);
    /* Enables the MPU */
    HAL_MPU_Enable(MPU_PRIVILEGED_DEFAULT);

}

void HAL_TIM_PeriodElapsedCallback(TIM_HandleTypeDef *htim) {
    /* USER CODE BEGIN Callback 0 */
    if (htim->Instance == TIM6) {
        static enum SensorType {
            sCompass,
            sGyro,
            sOptical,
        } SensorType;
        TIM_TypeDef *TIMx;
        static int16_t preCNT[5];
        static int16_t sumX, sumY;

        // Handle Key Event
        ComKey_Handler();

        // Check Clip limit
        if (HAL_GPIO_ReadPin(ClipLimit_GPIO_Port, ClipLimit_Pin) == GPIO_PIN_SET) {
            PID_Reset(&CarInfo.mpPid[4]);
            PID_Reset(&CarInfo.msPid[4]);
            CarInfo.psi[4] = 0;
            CarInfo.mpPid[4].ctr.aim = TopHeight;
        }

        // Get compass
        SensorType = sCompass;
        osMessageQueuePut(SensorMessageQueueHandle, &SensorType, 0, 0);

        // Get gyro
        SensorType = sGyro;
        osMessageQueuePut(SensorMessageQueueHandle, &SensorType, 0, 0);

        static int cnt = 0;
        const int period = 10;
        if (++cnt == period) {
            cnt = 0;

            // Get position
            SensorType = sOptical;
            osMessageQueuePut(SensorMessageQueueHandle, &SensorType, 0, 0);

            // Get motor speed
            for (int16_t i = 0; i < 5; i++) {
                TIM_TypeDef *TIMptr[5] = {TIM8, TIM1, TIM4, TIM2, TIM3};
                int16_t res = 0;
                if (i == 1 || i == 2 || i == 3)
                    CarInfo.spd[i] = -1 * ((int16_t) (TIMptr[i]->CNT) - preCNT[i]);
                else
                    CarInfo.spd[i] = (int16_t) ((TIMptr[i]->CNT) - preCNT[i]);
                preCNT[i] = (int16_t) (TIMptr[i]->CNT);
            }

            // Get Motor Position
            for (int i = 0; i < 5; i++)
                CarInfo.psi[i] += CarInfo.spd[i];

            // Map PID
            if (CarInfo.cPsiCtr && !CarInfo.mPsiCtr) {
                CarInfo.spdX = PID_Realize(&CarInfo.cpPidX, CarInfo.curX);
                CarInfo.spdY = PID_Realize(&CarInfo.cpPidY, CarInfo.curY);

                int temp = 15;
                CarInfo.spdX = CarInfo.spdX > temp ? temp : CarInfo.spdX < -temp ? -temp : CarInfo.spdX;
                CarInfo.spdY = CarInfo.spdY > temp ? temp : CarInfo.spdY < -temp ? -temp : CarInfo.spdY;

                MapSpeedSet(CarInfo.spdY, CarInfo.spdX);
            }

            CarInfo.psiX+= CarInfo.spdX*0.01f;
            CarInfo.psiY+= CarInfo.spdY*0.01f;

            // Attitude PID
            CarInfo.avPid.ctr.aim = PID_Realize(&CarInfo.aPid, CarInfo.yaw);
            CarInfo.avPidOut = PID_RealizeForAngle(&CarInfo.avPid, CarInfo.icm.gz);
            int temp = 20;
            CarInfo.avPidOut = CarInfo.avPidOut > temp ? temp : CarInfo.avPidOut < -temp ? -temp : CarInfo.avPidOut;

            // Motor PID
            for (int i = 0; i < 5; i++) {
                volatile uint8_t dir = 1;

                // Optional position loop
                if (i == 4 || CarInfo.mPsiCtr) {
                    CarInfo.spdStep = 0.5f;
                    float *outPtr = &CarInfo.mpPIDout[i];
                    float res = PID_Realize(&CarInfo.mpPid[i], CarInfo.psi[i]);

                    // Limit accelerate
                    if (res > *outPtr && res > 0 && *outPtr >= 0)
                        *outPtr = *outPtr < res ? *outPtr + CarInfo.spdStep : *outPtr;
                    else if (res < *outPtr && res < 0 && *outPtr <= 0)
                        *outPtr = *outPtr > res ? *outPtr - CarInfo.spdStep : *outPtr;
                    else *outPtr = res;

                    // Limit speed max
                    if (CarInfo.mpPIDout[i] > CarInfo.spdLimit[i])CarInfo.mpPIDout[i] = CarInfo.spdLimit[i];
                    if (CarInfo.mpPIDout[i] < -CarInfo.spdLimit[i])CarInfo.mpPIDout[i] = -CarInfo.spdLimit[i];
                }

                // Merge Motor Position PID and Attitude PID output
                switch (i) {
                    case 1:
                    case 2:
                        CarInfo.msPid[i].ctr.aim =
                                (CarInfo.mPsiCtr ? CarInfo.mpPIDout[i] : CarInfo.spdAim[i]) + CarInfo.avPidOut;
                        break;
                    case 0:
                    case 3:
                        CarInfo.msPid[i].ctr.aim =
                                (CarInfo.mPsiCtr ? CarInfo.mpPIDout[i] : CarInfo.spdAim[i]) - CarInfo.avPidOut;
                        break;
                    case 4:
                        CarInfo.msPid[i].ctr.aim = CarInfo.mpPIDout[i];
                        break;
                }

                // Speed loop
                float duty = PID_Realize(&CarInfo.msPid[i], (float) CarInfo.spd[i]);
                if (duty < 0) {
                    duty = -duty;
                    dir = 0;
                }
                Motor_Drive(i, duty, dir);
            }

            // Judge whether the car is static
            if (CarInfo.spd[0] != 0
                && CarInfo.spd[1] != 0
                && CarInfo.spd[2] != 0
                && CarInfo.spd[3] != 0)
                CarInfo.isCarMoving = CarInfo.isCarMoving << 1 | 1;
            else
                CarInfo.isCarMoving = CarInfo.isCarMoving << 1;
        }
    }
    /* USER CODE END Callback 0 */
    if (htim->Instance == TIM17) {
        HAL_IncTick();
    }
}

void Error_Handler(void) {
    __disable_irq();
    while (1) {
    }
}

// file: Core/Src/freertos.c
/* USER CODE BEGIN Header */
/**
  ******************************************************************************
  * File Name          : freertos.c
  * Description        : Code for freertos applications
  ******************************************************************************
  * @attention
  *
  * Copyright (c) 2022 STMicroelectronics.
  * All rights reserved.
  *
  * This software is licensed under terms that can be found in the LICENSE file
  * in the root directory of this software component.
  * If no LICENSE file comes with this software, it is provided AS-IS.
  *
  ******************************************************************************
  */
/* USER CODE END Header */

#include "FreeRTOS.h"
#include "task.h"
#include "main.h"
#include "cmsis_os.h"

/* USER CODE BEGIN Includes */
#include "utils.h"
#include "printf.h"
#include "Compass/QMC5883L.h"
#include "ST7735-HAL/st7735.h"
#include "LobotSerialServo/LobotSerialServo.h"
#include "Filter/filter.h"
/* USER CODE END Includes */

/* Definitions for IOcontrol */
osThreadId_t IOcontrolHandle;
const osThreadAttr_t IOcontrol_attributes = {
        .name = "IOcontrol",
        .stack_size = 128 * 4,
        .priority = (osPriority_t) osPriorityLow,
};
/* Definitions for SerialOutput */
osThreadId_t SerialOutputHandle;
const osThreadAttr_t SerialOutput_attributes = {
        .name = "SerialOutput",
        .stack_size = 512 * 4,
        .priority = (osPriority_t) osPriorityLow,
};
/* Definitions for StateMachine */
osThreadId_t StateMachineHandle;
const osThreadAttr_t StateMachine_attributes = {
        .name = "StateMachine",
        .stack_size = 512 * 4,
        .priority = (osPriority_t) osPriorityLow,
};
/* Definitions for ScreenRefresh */
osThreadId_t ScreenRefreshHandle;
const osThreadAttr_t ScreenRefresh_attributes = {
        .name = "ScreenRefresh",
        .stack_size = 512 * 4,
        .priority = (osPriority_t) osPriorityLow,
};
/* Definitions for SensorHandle */
osThreadId_t SensorHandleHandle;
const osThreadAttr_t SensorHandle_attributes = {
        .name = "SensorHandle",
        .stack_size = 256 * 4,
        .priority = (osPriority_t) osPriorityNormal,
};
/* Definitions for InfCalOpticalTa */
osThreadId_t InfCalOpticalTaHandle;
const osThreadAttr_t InfCalOpticalTa_attributes = {
        .name = "InfCalOpticalTa",
        .stack_size = 256 * 4,
        .priority = (osPriority_t) osPriorityLow,
};
/* Definitions for SensorMessageQueue */
osMessageQueueId_t SensorMessageQueueHandle;
const osMessageQueueAttr_t SensorMessageQueue_attributes = {
        .name = "SensorMessageQueue"
};
/* Definitions for KeyTimer */
osTimerId_t KeyTimerHandle;
const osTimerAttr_t KeyTimer_attributes = {
        .name = "KeyTimer"
};
/* Definitions for bQueuePut */
osSemaphoreId_t bQueuePutHandle;
const osSemaphoreAttr_t bQueuePut_attributes = {
        .name = "bQueuePut"
};

/* USER CODE BEGIN FunctionPrototypes */

static void u8ZeroFiller(uint8_t *data);

/* USER CODE END FunctionPrototypes */

void IOcontrolEntry(void *argument);

void SerialOutputEntry(void *argument);

void StateMachineEntry(void *argument);

void ScreenRefreshEntry(void *argument);

void SensorHandleEntry(void *argument);

void InfCalOpticalEntry(void *argument);

void KeyTimerCallback(void *argument);

void MX_FREERTOS_Init(void); /* (MISRA C 2004 rule 8.1) */

void MX_FREERTOS_Init(void) {

    /* Create the semaphores(s) */
    /* creation of bQueuePut */
    bQueuePutHandle = osSemaphoreNew(1, 1, &bQueuePut_attributes);

    /* Create the timer(s) */
    /* creation of KeyTimer */
    KeyTimerHandle = osTimerNew(KeyTimerCallback, osTimerPeriodic, NULL, &KeyTimer_attributes);

    /* Create the queue(s) */
    /* creation of SensorMessageQueue */
    SensorMessageQueueHandle = osMessageQueueNew(16, sizeof(uint16_t), &SensorMessageQueue_attributes);

    /* Create the thread(s) */
    /* creation of IOcontrol */
    IOcontrolHandle = osThreadNew(IOcontrolEntry, NULL, &IOcontrol_attributes);

    /* creation of SerialOutput */
    SerialOutputHandle = osThreadNew(SerialOutputEntry, NULL, &SerialOutput_attributes);

    /* creation of StateMachine */
    StateMachineHandle = osThreadNew(StateMachineEntry, NULL, &StateMachine_attributes);

    /* creation of ScreenRefresh */
    ScreenRefreshHandle = osThreadNew(ScreenRefreshEntry, NULL, &ScreenRefresh_attributes);

    /* creation of SensorHandle */
    SensorHandleHandle = osThreadNew(SensorHandleEntry, NULL, &SensorHandle_attributes);

    /* creation of InfCalOpticalTa */
    InfCalOpticalTaHandle = osThreadNew(InfCalOpticalEntry, NULL, &InfCalOpticalTa_attributes);

}

void IOcontrolEntry(void *argument) {
    /* USER CODE BEGIN IOcontrolEntry */
    UNUSED(argument);
    /* Infinite loop */
    for (;;) {
        HAL_GPIO_WritePin(LED_System_GPIO_Port, LED_System_Pin, 1);
        osDelay(50);
        HAL_GPIO_WritePin(LED_System_GPIO_Port, LED_System_Pin, 0);
        osDelay(950);
        if (CarInfo.SerialOutputEnable)osThreadResume(SerialOutputHandle);
    }
    /* USER CODE END IOcontrolEntry */
}

void SerialOutputEntry(void *argument) {
    /* USER CODE BEGIN SerialOutputEntry */
    UNUSED(argument);
    /* Infinite loop */
    for (;;) {
        if (!CarInfo.SerialOutputEnable)osThreadSuspend(SerialOutputHandle);

        printf("data:");
//
//        printf("%d,", CarInfo.spd[0]);
//        printf("%d,", CarInfo.spd[1]);
//        printf("%d,", CarInfo.spd[2]);
//        printf("%d,", CarInfo.spd[3]);
//        printf("%f,", CarInfo.msPid[0].ctr.aim);
//        printf("%f,", CarInfo.psi[0]);
//        printf("%f,", CarInfo.mpPid[0].ctr.aim);
//
//        printf("%f,", CarInfo.yaw);
//        printf("%f,", atan2f(CarInfo.hmc.Mx, CarInfo.hmc.My));
//        printf("%d,", CarInfo.yawOverFlowTime);
//        printf("%f,", CarInfo.aPid.error.cur);
//        printf("%f,", CarInfo.aPid.error.sum);
//        printf("%f,", CarInfo.avPid.ctr.aim);

//        printf("%f,", CarInfo.curX);
//        printf("%f,", CarInfo.cpPidX.ctr.aim);
//        printf("%f,", CarInfo.curY);
//        printf("%f,", CarInfo.cpPidY.ctr.aim);

        printf("%.3f,", CarInfo.hmc.Mx);
        printf("%.3f,", CarInfo.hmc.My);

//        printf("%.3f,", CarInfo.icm.gx);
//        printf("%.3f,", CarInfo.icm.gy);
        printf("%.3f,", CarInfo.icm.gz);
//
//        printf("%.3f,", CarInfo.avPid.error.sum);

        printf("\r\n");
    }
    /* USER CODE END SerialOutputEntry */
}

void StateMachineEntry(void *argument) {
    /* USER CODE BEGIN StateMachineEntry */
    UNUSED(argument);
    /* Infinite loop */
    for (;;) {
        if (CarInfo.Start_State) {
            CarInfo.RunMainState();
        }
    }
    /* USER CODE END StateMachineEntry */
}

void ScreenRefreshEntry(void *argument) {
    /* USER CODE BEGIN ScreenRefreshEntry */
    UNUSED(argument);
    /* Infinite loop */
    for (;;) {
        char buff[64];
        static uint32_t pretick = 0;
        static float psiX = 0, psiY = 0;
        float fps = 1000.0f / (HAL_GetTick() - pretick);

        pretick = HAL_GetTick();
        sprintf(buff, "FPS:%.3f\n", fps);
        LCD_StringLayout(128, buff, Font_7x10, ST7735_BLACK, ST7735_WHITE);

        sprintf(buff, CarInfo.yaw > 0 ? "Yaw: %.3f\n" : "Yaw:%.3f\n", ToDig(CarInfo.yaw));
        LCD_StringLayout(128, buff, Font_11x18, ST7735_BLACK, ST7735_WHITE);

        sprintf(buff, "pmwX:%.3f\n", CarInfo.curX);
        LCD_StringLayout(128, buff, Font_11x18, ST7735_BLACK, ST7735_WHITE);
        sprintf(buff, "pmwY:%.3f\n", CarInfo.curY);
        LCD_StringLayout(128, buff, Font_11x18, ST7735_BLACK, ST7735_WHITE);

        sprintf(buff, "psiX:%.3f\n", CarInfo.psiX);
        LCD_StringLayout(128, buff, Font_11x18, ST7735_BLACK, ST7735_WHITE);
        sprintf(buff, "psiY:%.3f\n", CarInfo.psiY);
        LCD_StringLayout(128, buff, Font_11x18, ST7735_BLACK, ST7735_WHITE);

        // End of page
        LCD_StringLayout(LCD_EOP);
    }
    /* USER CODE END ScreenRefreshEntry */
}

void SensorHandleEntry(void *argument) {
    /* USER CODE BEGIN SensorHandleEntry */
    UNUSED(argument);
    /* Infinite loop */
    for (;;) {
        static enum SensorType {
            sCompass,
            sGyro,
            sOptical,
        } SensorType;
        static MovingFilter_t gyroFilter = {0};

        osMessageQueueGet(SensorMessageQueueHandle, &SensorType, 0, osWaitForever);

        switch (SensorType) {
            case sCompass:
                taskENTER_CRITICAL();
                QMC5883_GetData(&CarInfo.hmc);
                VecRotate(CarInfo.hmc.Mx, CarInfo.hmc.My, CarInfo.initYawOffset);

                // Gyro integration to obtain angle
                CarInfo.yaw += ToRad(CarInfo.icm.gz) * 1.2f * 0.001f;

                taskEXIT_CRITICAL();
                break;
            case sGyro:
                taskENTER_CRITICAL();
                ICM42605_GetData(&CarInfo.icm, ICM_MODE_ACC | ICM_MODE_GYRO);
                CarInfo.icm.gz = Filter_MovingAvgf(&gyroFilter, CarInfo.icm.gz) - CarInfo.initGzOffset;
                taskEXIT_CRITICAL();
                break;
            case sOptical:
                taskENTER_CRITICAL();
                PMW3901_Read_Data(&CarInfo.pmw);
                CarInfo.dx = (float) -CarInfo.pmw.deltaX;
                CarInfo.dy = (float) -CarInfo.pmw.deltaY;
                VecRotate(CarInfo.dx, CarInfo.dy, CarInfo.yaw);

                // Recalculate optical confidence for each axis
                float tempDx = fabsf(CarInfo.dx),
                        tempSx = fabsf(ToPMWSystem(CarInfo.spdX)),
                        tempDy = fabsf(CarInfo.dx),
                        tempSy = fabsf(ToPMWSystem(CarInfo.spdX));
                if (MAX(tempDx, tempSx) != 0) {
                    CarInfo.opticalConfigX = MIN(tempDx, tempSx) / MAX(tempDx, tempSx);
                } else {
                    CarInfo.opticalConfigX = 1;
                }
                if (MAX(tempDy, tempSy) != 0) {
                    CarInfo.opticalConfigY = MIN(tempDy, tempSy) / MAX(tempDy, tempSy);
                } else {
                    CarInfo.opticalConfigY = 1;
                }

                // Fusing optical data and car speed data
                CarInfo.curX += CarInfo.dx * CarInfo.opticalConfigX
                                + (1 - CarInfo.opticalConfigX) * ToPMWSystem(CarInfo.spdX) * 0.01f;
                CarInfo.curY += CarInfo.dy * CarInfo.opticalConfigY
                                + (1 - CarInfo.opticalConfigY) * ToPMWSystem(CarInfo.spdY) * 0.01f;

                taskEXIT_CRITICAL();
                break;
            default:
                break;
        }
    }
    /* USER CODE END SensorHandleEntry */
}

void InfCalOpticalEntry(void *argument) {
    /* USER CODE BEGIN InfCalOpticalEntry */
    UNUSED(argument);
    /* Infinite loop */
    for (;;) {
        // Reset Pi
        if (CarInfo.Pi_Reset) {
            CarInfo.Pi_Reset = 0;
            Pi_ResetFromOS();
        }

        osDelay(10);
    }
    /* USER CODE END InfCalOpticalEntry */
}

/* KeyTimerCallback function */
void KeyTimerCallback(void *argument) {
}
